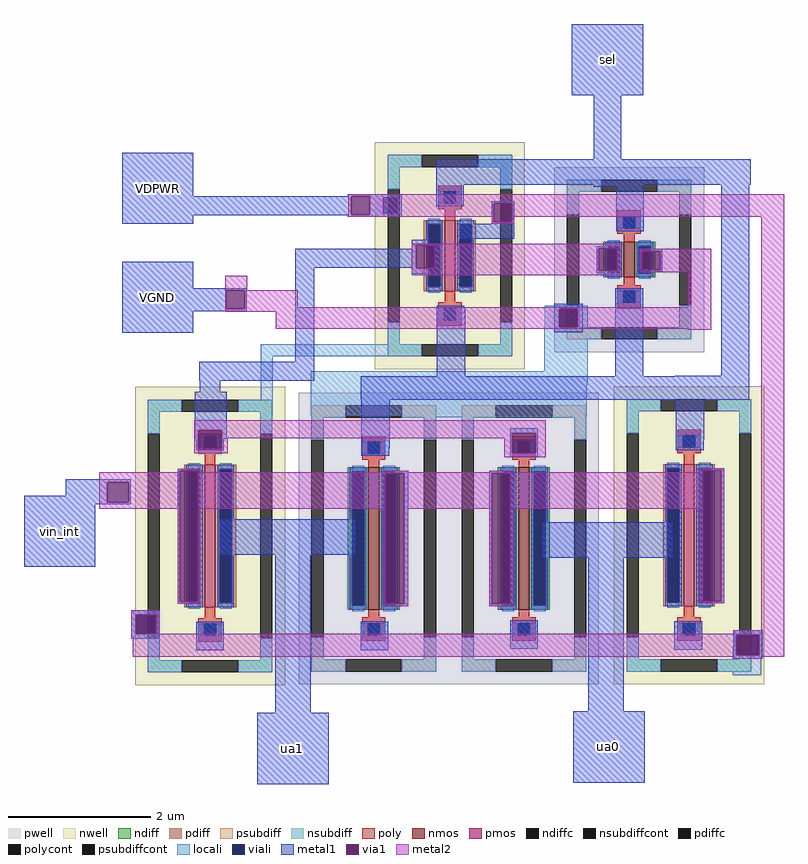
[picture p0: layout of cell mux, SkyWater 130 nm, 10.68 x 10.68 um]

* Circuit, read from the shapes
.subckt mux VDPWR VGND ua0 ua1 sel vin_int
XM1 vin_int sel ua1 VGND sky130_fd_pr__nfet_01v8 w=2 l=0.15
XM2 ua0 XMN_INV/D vin_int VGND sky130_fd_pr__nfet_01v8 w=2 l=0.15
XM3 VGND sel XMN_INV/D VGND sky130_fd_pr__nfet_01v8 w=0.5 l=0.15
XM4 ua1 XMN_INV/D vin_int VDPWR sky130_fd_pr__pfet_01v8 w=2 l=0.15
XM5 VDPWR sel XMN_INV/D VDPWR sky130_fd_pr__pfet_01v8 w=1 l=0.15
XM6 vin_int sel ua0 VDPWR sky130_fd_pr__pfet_01v8 w=2 l=0.15
.ends

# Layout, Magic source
magic
tech sky130A
magscale 1 2
<< locali >>
rect 3330 -3064 3450 -3056
rect 3330 -3116 3370 -3064
rect 3422 -3116 3450 -3064
rect 3330 -3118 3450 -3116
rect 2531 -3198 2923 -3164
rect 2531 -3365 2565 -3198
rect 3328 -3240 3450 -3118
rect 2672 -3278 3450 -3240
rect 2672 -3364 3448 -3278
rect 3874 -3352 3885 -3320
rect 2959 -3369 3431 -3364
rect 2168 -3924 2248 -3912
rect 2168 -3978 2180 -3924
rect 2238 -3978 2248 -3924
rect 2168 -3992 2248 -3978
rect 3862 -3984 3942 -3968
rect 3862 -4014 3872 -3984
rect 3858 -4036 3872 -4014
rect 3930 -4036 3942 -3984
rect 3858 -4048 3942 -4036
rect 3858 -4094 3938 -4048
<< viali >>
rect 2876 -2796 2916 -2752
rect 3370 -3116 3422 -3064
rect 2180 -3978 2238 -3924
rect 3872 -4036 3930 -3984
<< metal1 >>
rect 3406 -2464 3606 -2264
rect 2142 -2748 2342 -2626
rect 3467 -2644 3545 -2464
rect 3024 -2716 3908 -2644
rect 2776 -2748 2928 -2742
rect 2142 -2800 2786 -2748
rect 2838 -2752 2928 -2748
rect 2838 -2796 2876 -2752
rect 2916 -2796 2928 -2752
rect 3024 -2776 3102 -2716
rect 3467 -2722 3608 -2716
rect 3180 -2768 3244 -2762
rect 2838 -2800 2928 -2796
rect 2142 -2802 2928 -2800
rect 2142 -2826 2342 -2802
rect 2776 -2806 2928 -2802
rect 3180 -2820 3186 -2768
rect 3238 -2820 3244 -2768
rect 3180 -2826 3244 -2820
rect 3090 -2868 3244 -2826
rect 3530 -2846 3608 -2722
rect 2956 -2886 3006 -2870
rect 2956 -2895 2968 -2886
rect 2142 -3006 2342 -2932
rect 2628 -2949 2968 -2895
rect 2142 -3012 2492 -3006
rect 2142 -3064 2434 -3012
rect 2486 -3064 2492 -3012
rect 2142 -3072 2492 -3064
rect 2142 -3132 2342 -3072
rect 2628 -3213 2682 -2949
rect 2956 -2950 2968 -2949
rect 3476 -2894 3540 -2888
rect 2956 -2966 3006 -2950
rect 3476 -2958 3482 -2894
rect 3534 -2958 3540 -2894
rect 3476 -2964 3540 -2958
rect 3596 -2902 3660 -2896
rect 3596 -2954 3602 -2902
rect 3654 -2954 3660 -2902
rect 3596 -2960 3660 -2954
rect 2359 -3267 2682 -3213
rect 3026 -3062 3104 -3056
rect 3026 -3254 3106 -3062
rect 3356 -3064 3436 -3050
rect 3356 -3116 3370 -3064
rect 3422 -3116 3436 -3064
rect 3356 -3130 3436 -3116
rect 3528 -3254 3606 -3006
rect 3826 -3252 3904 -2716
rect 3696 -3254 3904 -3252
rect 2360 -3298 2417 -3267
rect 2346 -3406 2436 -3298
rect 2812 -3320 3904 -3254
rect 2346 -3430 2356 -3406
rect 2350 -3458 2356 -3430
rect 2422 -3430 2436 -3406
rect 2422 -3458 2428 -3430
rect 2350 -3462 2428 -3458
rect 2814 -3456 2894 -3320
rect 3232 -3414 3310 -3400
rect 2814 -3478 2892 -3456
rect 3232 -3470 3238 -3414
rect 3304 -3470 3310 -3414
rect 3698 -3432 3778 -3320
rect 3698 -3462 3776 -3432
rect 3232 -3480 3310 -3470
rect 2298 -3520 2362 -3514
rect 3764 -3518 3834 -3512
rect 1984 -3552 2166 -3544
rect 1984 -3590 2100 -3552
rect 1866 -3608 2100 -3590
rect 2160 -3608 2166 -3552
rect 1866 -3614 2166 -3608
rect 1866 -3790 2066 -3614
rect 2298 -3888 2304 -3520
rect 2356 -3888 2362 -3520
rect 2876 -3526 2946 -3520
rect 2418 -3756 2798 -3656
rect 2298 -3894 2362 -3888
rect 2168 -3924 2248 -3912
rect 2168 -3978 2180 -3924
rect 2238 -3978 2248 -3924
rect 2168 -3992 2248 -3978
rect 2350 -4024 2428 -3944
rect 2572 -4200 2672 -3756
rect 2876 -3894 2882 -3526
rect 2934 -3894 2946 -3526
rect 2876 -3900 2946 -3894
rect 3174 -3526 3244 -3520
rect 3174 -3894 3180 -3526
rect 3232 -3894 3244 -3526
rect 3324 -3764 3688 -3664
rect 3174 -3900 3244 -3894
rect 2812 -4024 2890 -3944
rect 3232 -4020 3310 -3940
rect 3452 -4196 3552 -3764
rect 3764 -3886 3774 -3518
rect 3826 -3886 3834 -3518
rect 3764 -3892 3834 -3886
rect 3694 -4022 3772 -3942
rect 3860 -3980 3940 -3968
rect 3860 -4038 3868 -3980
rect 3932 -4038 3940 -3980
rect 3860 -4048 3940 -4038
rect 2522 -4400 2722 -4200
rect 3410 -4396 3610 -4196
<< via1 >>
rect 2786 -2800 2838 -2748
rect 3186 -2820 3238 -2768
rect 2434 -3064 2486 -3012
rect 2968 -2950 3020 -2886
rect 3482 -2958 3534 -2894
rect 3602 -2954 3654 -2902
rect 3370 -3116 3422 -3064
rect 2356 -3458 2422 -3406
rect 3238 -3470 3304 -3414
rect 2100 -3608 2160 -3552
rect 2304 -3888 2356 -3520
rect 2180 -3978 2238 -3924
rect 2882 -3894 2934 -3526
rect 3180 -3894 3232 -3526
rect 3774 -3886 3826 -3518
rect 3868 -3984 3932 -3980
rect 3868 -4036 3872 -3984
rect 3872 -4036 3930 -3984
rect 3930 -4036 3932 -3984
rect 3868 -4038 3932 -4036
<< metal2 >>
rect 2778 -2748 4002 -2742
rect 2778 -2800 2786 -2748
rect 2838 -2768 4002 -2748
rect 2838 -2800 3186 -2768
rect 2778 -2806 3186 -2800
rect 3180 -2820 3186 -2806
rect 3238 -2806 4002 -2768
rect 3238 -2820 3244 -2806
rect 3180 -2826 3244 -2820
rect 2956 -2886 3548 -2882
rect 2956 -2950 2968 -2886
rect 3020 -2894 3548 -2886
rect 3020 -2950 3482 -2894
rect 2956 -2958 3482 -2950
rect 3534 -2958 3548 -2894
rect 2956 -2970 3548 -2958
rect 3596 -2902 3797 -2896
rect 3596 -2954 3602 -2902
rect 3654 -2954 3797 -2902
rect 3596 -2962 3797 -2954
rect 2432 -3012 2493 -2972
rect 2432 -3064 2434 -3012
rect 2486 -3060 2635 -3012
rect 3732 -3060 3797 -2962
rect 2486 -3064 3797 -3060
rect 2432 -3073 3370 -3064
rect 2574 -3116 3370 -3073
rect 3422 -3116 3797 -3064
rect 2574 -3121 3797 -3116
rect 3732 -3124 3797 -3121
rect 2344 -3406 3332 -3378
rect 2344 -3458 2356 -3406
rect 2422 -3414 3332 -3406
rect 2422 -3428 3238 -3414
rect 2422 -3458 2438 -3428
rect 2344 -3470 2438 -3458
rect 3216 -3470 3238 -3428
rect 3304 -3470 3332 -3414
rect 3216 -3482 3332 -3470
rect 2298 -3520 2362 -3514
rect 3764 -3518 3834 -3512
rect 2298 -3524 2304 -3520
rect 2078 -3552 2304 -3524
rect 2078 -3608 2100 -3552
rect 2160 -3608 2304 -3552
rect 2078 -3626 2304 -3608
rect 2298 -3888 2304 -3626
rect 2356 -3524 2362 -3520
rect 2876 -3524 2946 -3520
rect 3174 -3524 3244 -3520
rect 3764 -3524 3774 -3518
rect 2356 -3526 3774 -3524
rect 2356 -3626 2882 -3526
rect 2356 -3888 2362 -3626
rect 2298 -3894 2362 -3888
rect 2876 -3894 2882 -3626
rect 2934 -3626 3180 -3526
rect 2934 -3894 2946 -3626
rect 2876 -3900 2946 -3894
rect 3174 -3894 3180 -3626
rect 3232 -3626 3774 -3526
rect 3232 -3894 3244 -3626
rect 3764 -3886 3774 -3626
rect 3826 -3886 3834 -3518
rect 3764 -3892 3834 -3886
rect 3174 -3900 3244 -3894
rect 2168 -3924 2248 -3912
rect 2168 -3978 2180 -3924
rect 2238 -3978 2248 -3924
rect 3938 -3968 4002 -2806
rect 3860 -3978 4002 -3968
rect 2168 -3980 4002 -3978
rect 2168 -3992 3868 -3980
rect 2172 -4038 3868 -3992
rect 3932 -4038 4002 -3980
rect 2172 -4042 4002 -4038
rect 3860 -4048 3940 -4042
use sky130_fd_pr__nfet_01v8_V4D2ZP  XMN_CH0
transform 1 0 3271 0 1 -3710
box -211 -410 211 410
use sky130_fd_pr__nfet_01v8_V4D2ZP  XMN_CH1
transform -1 0 2849 0 -1 -3710
box -211 -410 211 410
use sky130_fd_pr__nfet_01v8_744KQH  XMN_INV
transform 1 0 3567 0 1 -2926
box -211 -260 211 260
use sky130_fd_pr__pfet_01v8_2HL26M  XMP_CH0
transform -1 0 3735 0 -1 -3701
box -211 -419 211 419
use sky130_fd_pr__pfet_01v8_2HL26M  XMP_CH1
transform 1 0 2389 0 1 -3703
box -211 -419 211 419
use sky130_fd_pr__pfet_01v8_MF9HY2  XMP_INV
transform 1 0 3063 0 1 -2915
box -211 -319 211 319
<< labels >>
flabel metal1 2142 -3132 2342 -2932 0 FreeSans 1600 0 0 0 VGND
port 1 nsew
flabel metal1 2522 -4400 2722 -4200 0 FreeSans 1600 0 0 0 ua1
port 3 nsew
flabel metal1 3410 -4396 3610 -4196 0 FreeSans 1600 0 0 0 ua0
port 2 nsew
flabel metal1 2142 -2826 2342 -2626 0 FreeSans 1600 0 0 0 VDPWR
port 0 nsew
flabel metal1 1866 -3790 2066 -3590 0 FreeSans 1600 0 0 0 vin_int
port 5 nsew
flabel metal1 3406 -2464 3606 -2264 0 FreeSans 1600 0 0 0 sel
port 4 nsew
<< end >>

# cell sky130_fd_pr__nfet_01v8_V4D2ZP: kit device sky130_fd_pr__nfet_01v8, w 2.0 l 0.15 m 1 nf 1 diffcov 100 polycov 100 guard 1 glc 1 grc 1 gtc 1 gbc 1 tbcov 100 rlcov 100 topc 1 botc 1 poverlap 0 doverlap 1 lmin 0.15 wmin 0.42 class mosfet compatible {sky130_fd_pr__nfet_01v8 sky130_fd_pr__nfet_01v8_lvt sky130_fd_bs_flash__special_sonosfet_star sky130_fd_pr__nfet_g5v0d10v5 sky130_fd_pr__nfet_05v0_nvt sky130_fd_pr__nfet_03v3_nvt} full_metal 1 conn_gates 0 viasrc 100 viadrn 100 viagate 100 viagb 0 viagr 0 viagl 0 viagt 0 doports 1 ad {int((nf+1)/2) * W/nf * 0.29} as {int((nf+2)/2) * W/nf * 0.29} pd {2*int((nf+1)/2) * (W/nf + 0.29)} ps {2*int((nf+2)/2) * (W/nf + 0.29)} nrd {0.29 / W} nrs {0.29 / W} sa 0 sb 0 sd 0 mult 1

# cell sky130_fd_pr__nfet_01v8_744KQH: kit device sky130_fd_pr__nfet_01v8, w 0.5 l 0.15 m 1 nf 1 diffcov 100 polycov 100 guard 1 glc 1 grc 1 gtc 1 gbc 1 tbcov 100 rlcov 100 topc 1 botc 1 poverlap 0 doverlap 1 lmin 0.15 wmin 0.42 class mosfet compatible {sky130_fd_pr__nfet_01v8 sky130_fd_pr__nfet_01v8_lvt sky130_fd_bs_flash__special_sonosfet_star sky130_fd_pr__nfet_g5v0d10v5 sky130_fd_pr__nfet_05v0_nvt sky130_fd_pr__nfet_03v3_nvt} full_metal 1 conn_gates 0 viasrc 100 viadrn 100 viagate 100 viagb 0 viagr 0 viagl 0 viagt 0 doports 1 ad {int((nf+1)/2) * W/nf * 0.29} as {int((nf+2)/2) * W/nf * 0.29} pd {2*int((nf+1)/2) * (W/nf + 0.29)} ps {2*int((nf+2)/2) * (W/nf + 0.29)} nrd {0.29 / W} nrs {0.29 / W} sa 0 sb 0 sd 0 mult 1

# cell sky130_fd_pr__pfet_01v8_2HL26M: kit device sky130_fd_pr__pfet_01v8, w 2.0 l 0.15 m 1 nf 1 diffcov 100 polycov 100 guard 1 glc 1 grc 1 gtc 1 gbc 1 tbcov 100 rlcov 100 topc 1 botc 1 poverlap 0 doverlap 1 lmin 0.15 wmin 0.42 class mosfet compatible {sky130_fd_pr__pfet_01v8 sky130_fd_pr__pfet_01v8_lvt sky130_fd_pr__pfet_01v8_hvt sky130_fd_pr__pfet_g5v0d10v5} full_metal 1 conn_gates 0 viasrc 100 viadrn 100 viagate 100 viagb 0 viagr 0 viagl 0 viagt 0 doports 1 ad {int((nf+1)/2) * W/nf * 0.29} as {int((nf+2)/2) * W/nf * 0.29} pd {2*int((nf+1)/2) * (W/nf + 0.29)} ps {2*int((nf+2)/2) * (W/nf + 0.29)} nrd {0.29 / W} nrs {0.29 / W} sa 0 sb 0 sd 0 mult 1

# cell sky130_fd_pr__pfet_01v8_MF9HY2: kit device sky130_fd_pr__pfet_01v8, w 1.0 l 0.15 m 1 nf 1 diffcov 100 polycov 100 guard 1 glc 1 grc 1 gtc 1 gbc 1 tbcov 100 rlcov 100 topc 1 botc 1 poverlap 0 doverlap 1 lmin 0.15 wmin 0.42 class mosfet compatible {sky130_fd_pr__pfet_01v8 sky130_fd_pr__pfet_01v8_lvt sky130_fd_pr__pfet_01v8_hvt sky130_fd_pr__pfet_g5v0d10v5} full_metal 1 conn_gates 0 viasrc 100 viadrn 100 viagate 100 viagb 0 viagr 0 viagl 0 viagt 0 doports 1 ad {int((nf+1)/2) * W/nf * 0.29} as {int((nf+2)/2) * W/nf * 0.29} pd {2*int((nf+1)/2) * (W/nf + 0.29)} ps {2*int((nf+2)/2) * (W/nf + 0.29)} nrd {0.29 / W} nrs {0.29 / W} sa 0 sb 0 sd 0 mult 1
